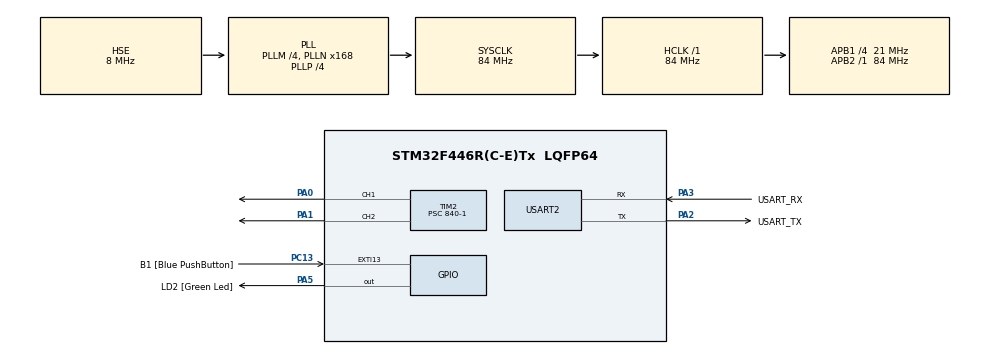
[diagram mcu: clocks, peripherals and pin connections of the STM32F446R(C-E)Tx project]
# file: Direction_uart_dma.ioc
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Dma.Request0=USART2_RX
Dma.USART2_RX.0.Direction=DMA_PERIPH_TO_MEMORY
Dma.USART2_RX.0.FIFOMode=DMA_FIFOMODE_DISABLE
Dma.USART2_RX.0.Instance=DMA1_Stream5
Dma.USART2_RX.0.MemDataAlignment=DMA_MDATAALIGN_BYTE
Dma.USART2_RX.0.MemInc=DMA_MINC_ENABLE
Dma.USART2_RX.0.Mode=DMA_CIRCULAR
Dma.USART2_RX.0.PeriphDataAlignment=DMA_PDATAALIGN_BYTE
Dma.USART2_RX.0.PeriphInc=DMA_PINC_DISABLE
Dma.USART2_RX.0.Priority=DMA_PRIORITY_LOW
Mcu.Family=STM32F4
Mcu.Name=STM32F446R(C-E)Tx
Mcu.Package=LQFP64
NVIC.DMA1_Stream5_IRQn=true\:0\:0\:false\:false\:true\:false\:true
NVIC.PriorityGroup=NVIC_PRIORITYGROUP_0
NVIC.TIM2_IRQn=true\:0\:0\:false\:false\:true\:true\:true
NVIC.USART2_IRQn=true\:0\:0\:false\:false\:true\:true\:true
PA0-WKUP.Signal=S_TIM2_CH1_ETR
PA1.Signal=S_TIM2_CH2
PA13.GPIO_Label=TMS
PA13.Mode=Serial_Wire
PA13.Signal=SYS_JTMS-SWDIO
PA14.GPIO_Label=TCK
PA14.Mode=Serial_Wire
PA14.Signal=SYS_JTCK-SWCLK
PA2.GPIO_Label=USART_TX
PA2.Mode=Asynchronous
PA2.Signal=USART2_TX
PA3.GPIO_Label=USART_RX
PA3.Mode=Asynchronous
PA3.Signal=USART2_RX
PA5.GPIO_Label=LD2 [Green Led]
PA5.Signal=GPIO_Output
PB3.GPIO_Label=SWO
PB3.Signal=SYS_JTDO-SWO
PC13.GPIO_Label=B1 [Blue PushButton]
PC13.GPIO_ModeDefaultEXTI=GPIO_MODE_IT_FALLING
PC13.Signal=GPXTI13
PC14-OSC32_IN.Mode=LSE-External-Oscillator
PC14-OSC32_IN.Signal=RCC_OSC32_IN
PC15-OSC32_OUT.Mode=LSE-External-Oscillator
PC15-OSC32_OUT.Signal=RCC_OSC32_OUT
PH0-OSC_IN.Mode=HSE-External-Oscillator
PH0-OSC_IN.Signal=RCC_OSC_IN
PH1-OSC_OUT.Mode=HSE-External-Oscillator
PH1-OSC_OUT.Signal=RCC_OSC_OUT
ProjectManager.HeapSize=0x200
ProjectManager.StackSize=0x400
ProjectManager.TargetToolchain=STM32CubeIDE
RCC.48MHZClocksFreq_Value=84000000
RCC.AHBFreq_Value=84000000
RCC.APB1CLKDivider=RCC_HCLK_DIV4
RCC.APB1Freq_Value=21000000
RCC.APB1TimFreq_Value=42000000
RCC.APB2Freq_Value=84000000
RCC.APB2TimFreq_Value=84000000
RCC.CortexFreq_Value=84000000
RCC.FLatency-AdvancedSettings=FLASH_LATENCY_2
RCC.HCLKFreq_Value=84000000
RCC.HSE_VALUE=8000000
RCC.HSI_VALUE=16000000
RCC.PLLM=4
RCC.PLLN=168
RCC.PLLP=RCC_PLLP_DIV4
RCC.PLLSourceVirtual=RCC_PLLSOURCE_HSE
RCC.SYSCLKFreq_VALUE=84000000
RCC.SYSCLKSource=RCC_SYSCLKSOURCE_PLLCLK
RCC.USBFreq_Value=168000000
RCC.VCOOutputFreq_Value=336000000
SH.S_TIM2_CH1_ETR.0=TIM2_CH1,PWM Generation1 CH1
SH.S_TIM2_CH2.0=TIM2_CH2,PWM Generation2 CH2
TIM2.Channel-PWM\ Generation1\ CH1=TIM_CHANNEL_1
TIM2.Channel-PWM\ Generation2\ CH2=TIM_CHANNEL_2
TIM2.Period=1000-1
TIM2.Prescaler=840-1
USART2.VirtualMode=VM_ASYNC
VP_TIM2_VS_ClockSourceINT.Mode=Internal
board=NUCLEO-F446RE

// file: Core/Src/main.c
/* USER CODE BEGIN Header */
/**
  ******************************************************************************
  * @file           : main.c
  * @brief          : Main program body
  ******************************************************************************
  * @attention
  *
  * <h2><center>&copy; Copyright (c) 2020 STMicroelectronics.
  * All rights reserved.</center></h2>
  *
  * This software component is licensed by ST under BSD 3-Clause license,
  * the "License"; You may not use this file except in compliance with the
  * License. You may obtain a copy of the License at:
  *                        opensource.org/licenses/BSD-3-Clause
  *
  ******************************************************************************
  */
/* USER CODE END Header */

#include "main.h"
#include "dma.h"
#include "tim.h"
#include "usart.h"
#include "gpio.h"

/* USER CODE BEGIN Includes */
#include <string.h>
#include <stdlib.h>
#include <malloc.h>
#include <stdio.h>
#include <math.h>
/* USER CODE END Includes */

/* USER CODE BEGIN PV */
UART_HandleTypeDef huart2;
DMA_HandleTypeDef hdma_usart2_rx;

/* USER CODE END PV */

void SystemClock_Config(void);

/* USER CODE BEGIN 0 */
uint8_t Rx_Data[10];
uint8_t Tx_Data[10];

char lenX;
char lenY;
char* X;
char* Y;
char* mex;
int axX;
int axY;
int NX;
int NY;
int i=0;
float len_float_1;
int len_int_1;
float len_float_2;
int len_int_2;

int pwm1=75;
int pwm2=75;

TIM_HandleTypeDef htim2; //pin A0
//TIM_HandleTypeDef htim3; //pin D12

/* USER CODE END 0 */

int main(void)
{

  /* MCU Configuration--------------------------------------------------------*/

  /* Reset of all peripherals, Initializes the Flash interface and the Systick. */
  HAL_Init();

  /* Configure the system clock */
  SystemClock_Config();

  /* Initialize all configured peripherals */
  MX_GPIO_Init();
  MX_DMA_Init();
  MX_USART2_UART_Init();
  MX_TIM2_Init();
  /* USER CODE BEGIN 2 */
  HAL_UART_Receive_DMA(&huart2,(uint8_t *)Rx_Data,10);

  HAL_TIM_PWM_Start(&htim2, TIM_CHANNEL_1);
  HAL_TIM_PWM_Start(&htim2, TIM_CHANNEL_2);
  //HAL_TIM_PWM_Start(&htim3, TIM_CHANNEL_1);
  htim2.Instance->CCR2=pwm2;
  htim2.Instance->CCR1=pwm1;

  /* USER CODE END 2 */

  /* Infinite loop */
  while (1)
  {
  }
}

void SystemClock_Config(void)
{
  RCC_OscInitTypeDef RCC_OscInitStruct = {0};
  RCC_ClkInitTypeDef RCC_ClkInitStruct = {0};

  /** Configure the main internal regulator output voltage
  */
  __HAL_RCC_PWR_CLK_ENABLE();
  __HAL_PWR_VOLTAGESCALING_CONFIG(PWR_REGULATOR_VOLTAGE_SCALE3);
  /** Initializes the CPU, AHB and APB busses clocks
  */
  RCC_OscInitStruct.OscillatorType = RCC_OSCILLATORTYPE_HSE;
  RCC_OscInitStruct.HSEState = RCC_HSE_ON;
  RCC_OscInitStruct.PLL.PLLState = RCC_PLL_ON;
  RCC_OscInitStruct.PLL.PLLSource = RCC_PLLSOURCE_HSE;
  RCC_OscInitStruct.PLL.PLLM = 4;
  RCC_OscInitStruct.PLL.PLLN = 168;
  RCC_OscInitStruct.PLL.PLLP = RCC_PLLP_DIV4;
  RCC_OscInitStruct.PLL.PLLQ = 2;
  RCC_OscInitStruct.PLL.PLLR = 2;
  if (HAL_RCC_OscConfig(&RCC_OscInitStruct) != HAL_OK)
  {
    Error_Handler();
  }
  /** Initializes the CPU, AHB and APB busses clocks
  */
  RCC_ClkInitStruct.ClockType = RCC_CLOCKTYPE_HCLK|RCC_CLOCKTYPE_SYSCLK
                              |RCC_CLOCKTYPE_PCLK1|RCC_CLOCKTYPE_PCLK2;
  RCC_ClkInitStruct.SYSCLKSource = RCC_SYSCLKSOURCE_PLLCLK;
  RCC_ClkInitStruct.AHBCLKDivider = RCC_SYSCLK_DIV1;
  RCC_ClkInitStruct.APB1CLKDivider = RCC_HCLK_DIV4;
  RCC_ClkInitStruct.APB2CLKDivider = RCC_HCLK_DIV1;

  if (HAL_RCC_ClockConfig(&RCC_ClkInitStruct, FLASH_LATENCY_2) != HAL_OK)
  {
    Error_Handler();
  }
}

/* USER CODE BEGIN 4 */
void HAL_UART_RxCpltCallback(UART_HandleTypeDef *huart)
{
  /* Prevent unused argument(s) compilation warning */
  //UNUSED(huart);
  /* NOTE: This function should not be modified, when the callback is needed,
           the HAL_UART_RxCpltCallback could be implemented in the user file
   */
	//HAL_UART_Transmit(&huart2,(uint8_t *)Rx_Data,10,100);
	//HAL_GPIO_TogglePin(LD2_GPIO_Port, LD2_Pin); //led check

    lenX=Rx_Data[0];
    lenY=Rx_Data[1];
	//NX=atoi(lenX);
	//NY=atoi(lenY);
    NX = (int) lenX - '0';
    NY = (int) lenY - '0';

	X=(char*)malloc(NX*sizeof(uint8_t));
	Y=(char*)malloc(NY*sizeof(uint8_t));
	for (i=0;i<NX;i++)
	{
		X[i]=Rx_Data[i+2];
	}
	for (i=0;i<NY;i++)
	{
		Y[i]=Rx_Data[i+2+NX];
	}
	axX=atoi(X);
	axY=atoi(Y);
	//HAL_GPIO_TogglePin(LD2_GPIO_Port,LD2_Pin);

	len_float_1=((float)axX/320)*10; //*50
	//len_float_1 = 5*tan((float) axX*3.14/490) ;
	len_int_1=(int) len_float_1;

	len_float_2=((float)axY/240)*10; //*50
	//len_float_2 = 5*tan((float) axY*3.14/490) ;
	len_int_2=(int) len_float_2;

	if (len_int_1 > 5 || len_int_1 < -5)
	{len_int_1 = 0;}
	if (len_int_2 > 5 || len_int_2 < -5)
	{len_int_2 = 0;}

	pwm1=(75-len_int_1); //X axys
	pwm2=(75+len_int_2);  //Y axys  //75 half power

	//len=snprintf(NULL,0,"%d",pwm);
	//mex=(char*)malloc((len+1)*sizeof(uint8_t));
	//snprintf(mex,len+1,"%d",pwm);
	//itoa(pwm,mex,10);
	//snprintf(Tx_Data,10,"%d%d",pwm1,pwm2);

	htim2.Instance->CCR1=pwm1;
	htim2.Instance->CCR2=pwm2;

	//HAL_UART_Transmit(&huart2,Tx_Data,sizeof(Tx_Data),10);
	//free(Tx_Data);

	free(X);
	free(Y);

}
/* USER CODE END 4 */

void Error_Handler(void)
{
}

/************************ (C) COPYRIGHT STMicroelectronics *****END OF FILE****/
